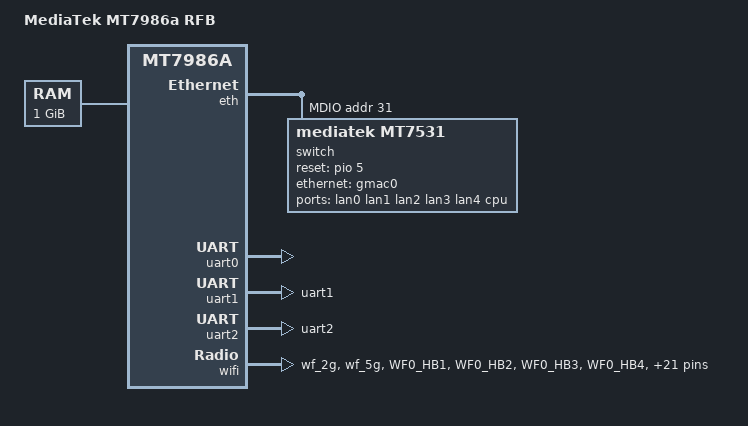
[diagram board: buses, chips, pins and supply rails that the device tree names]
// SPDX-License-Identifier: (GPL-2.0 OR MIT)
/*
 * Copyright (C) 2021 MediaTek Inc.
 * Author: Sam.Shih <sam.shih@mediatek.com>
 */

/dts-v1/;
#include "mt7986a.dtsi"

/ {
	model = "MediaTek MT7986a RFB";
	compatible = "mediatek,mt7986a-rfb";

	aliases {
		serial0 = &uart0;
	};

	chosen {
		stdout-path = "serial0:115200n8";
	};

	memory@40000000 {
		device_type = "memory";
		reg = <0 0x40000000 0 0x40000000>;
	};
};

&eth {
	status = "okay";

	gmac0: mac@0 {
		compatible = "mediatek,eth-mac";
		reg = <0>;
		phy-mode = "2500base-x";

		fixed-link {
			speed = <2500>;
			full-duplex;
			pause;
		};
	};

	mdio: mdio-bus {
		#address-cells = <1>;
		#size-cells = <0>;
	};
};

&mdio {
	switch: switch@0 {
		compatible = "mediatek,mt7531";
		reg = <31>;
		reset-gpios = <&pio 5 0>;
	};
};

&switch {
	ports {
		#address-cells = <1>;
		#size-cells = <0>;

		port@0 {
			reg = <0>;
			label = "lan0";
		};

		port@1 {
			reg = <1>;
			label = "lan1";
		};

		port@2 {
			reg = <2>;
			label = "lan2";
		};

		port@3 {
			reg = <3>;
			label = "lan3";
		};

		port@4 {
			reg = <4>;
			label = "lan4";
		};

		port@6 {
			reg = <6>;
			label = "cpu";
			ethernet = <&gmac0>;
			phy-mode = "2500base-x";

			fixed-link {
				speed = <2500>;
				full-duplex;
				pause;
			};
		};
	};
};

&uart0 {
	status = "okay";
};

&uart1 {
	pinctrl-names = "default";
	pinctrl-0 = <&uart1_pins>;
	status = "okay";
};

&uart2 {
	pinctrl-names = "default";
	pinctrl-0 = <&uart2_pins>;
	status = "okay";
};

&wifi {
	status = "okay";
	pinctrl-names = "default", "dbdc";
	pinctrl-0 = <&wf_2g_5g_pins>;
	pinctrl-1 = <&wf_dbdc_pins>;
};

&pio {
	uart1_pins: uart1-pins {
		mux {
			function = "uart";
			groups = "uart1";
		};
	};

	uart2_pins: uart2-pins {
		mux {
			function = "uart";
			groups = "uart2";
		};
	};

	wf_2g_5g_pins: wf-2g-5g-pins {
		mux {
			function = "wifi";
			groups = "wf_2g", "wf_5g";
		};
		conf {
			pins = "WF0_HB1", "WF0_HB2", "WF0_HB3", "WF0_HB4",
			       "WF0_HB0", "WF0_HB0_B", "WF0_HB5", "WF0_HB6",
			       "WF0_HB7", "WF0_HB8", "WF0_HB9", "WF0_HB10",
			       "WF0_TOP_CLK", "WF0_TOP_DATA", "WF1_HB1",
			       "WF1_HB2", "WF1_HB3", "WF1_HB4", "WF1_HB0",
			       "WF1_HB5", "WF1_HB6", "WF1_HB7", "WF1_HB8",
			       "WF1_TOP_CLK", "WF1_TOP_DATA";
			drive-strength = <4>;
		};
	};

	wf_dbdc_pins: wf-dbdc-pins {
		mux {
			function = "wifi";
			groups = "wf_dbdc";
		};
		conf {
			pins = "WF0_HB1", "WF0_HB2", "WF0_HB3", "WF0_HB4",
			       "WF0_HB0", "WF0_HB0_B", "WF0_HB5", "WF0_HB6",
			       "WF0_HB7", "WF0_HB8", "WF0_HB9", "WF0_HB10",
			       "WF0_TOP_CLK", "WF0_TOP_DATA";
			drive-strength = <4>;
		};
	};
};
